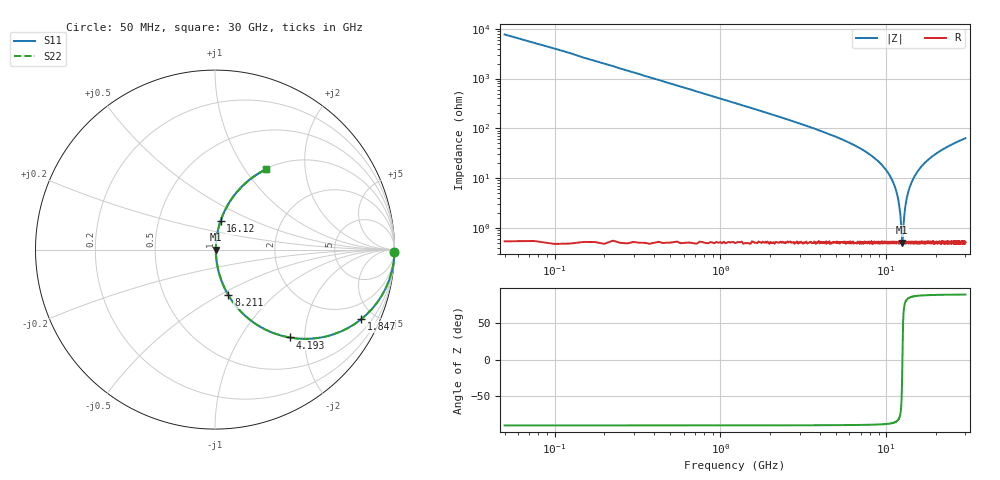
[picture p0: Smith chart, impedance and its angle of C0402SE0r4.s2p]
!	AVX Thin Film Operation 	Date: April 2014
!	Description: Accu-P® Series, Thin Film  SMD RF Capacitor
!	Part Number: 04021J0R4ZBSTR
# MHZ S MA R 50
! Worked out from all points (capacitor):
!   1201 points, 50 MHz to 30 GHz, reference 50 ohm
!   read as one part in series: C = 400 fF near 199.8 MHz
!   lowest |Z| = 504 mohm at 12.5 GHz (marker M1)
!   series resonance near 12.51 GHz, so ESL is about 400 pH
!   S11 on the Smith chart (normalised r, x): 50 MHz: open; 1.847 GHz: 1.01, -4.22; 4.193 GHz: 1.01, -1.68; 8.211 GHz: 1.01, -0.55; 16.12 GHz: 1.01, +0.33; 30 GHz: 1.01, +1.26
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50  1 -0.7  0.013 89.3  0.013 89.3  1 -0.7
299.583  0.997 -4.3  0.075 85.7  0.075 85.7  0.997 -4.3
599.083  0.989 -8.6  0.149 81.4  0.149 81.4  0.989 -8.6
1098.25  0.963 -15.5  0.268 74.4  0.268 74.4  0.963 -15.5
1847  0.903 -25.4  0.428 64.5  0.428 64.5  0.903 -25.4
4193.083  0.642 -49.7  0.763 40.0  0.763 40.0  0.642 -49.7
5041.667  0.549 -56.2  0.831 33.3  0.831 33.3  0.549 -56.2
8211.375  0.265 -73.6  0.96 15.3  0.96 15.3  0.265 -73.6
10058.29  0.138 -80.0  0.985 7.9  0.985 7.9  0.138 -80.0
10981.75  0.082 -81.8  0.992 4.7  0.992 4.7  0.082 -81.8
11680.58  0.044 -80.9  0.994 2.5  0.994 2.5  0.044 -80.9
12054.96  0.024 -76.5  0.995 1.3  0.995 1.3  0.024 -76.5
12504.21  0.005026 -1.2  0.995 0.0  0.995 0.0  0.005026 -1.2
12604.04  0.007038 44.2  0.995 -0.3  0.995 -0.3  0.007038 44.2
12928.5  0.022 75.4  0.995 -1.2  0.995 -1.2  0.022 75.4
13352.79  0.042 80.7  0.994 -2.4  0.994 -2.4  0.042 80.7
14101.54  0.076 81.9  0.992 -4.4  0.992 -4.4  0.076 81.9
15025  0.116 80.9  0.988 -6.7  0.988 -6.7  0.116 80.9
16123.17  0.161 79.0  0.982 -9.2  0.982 -9.2  0.161 79.0
20016.67  0.295 71.9  0.951 -17.2  0.951 -17.2  0.295 71.9
25033.29  0.429 64.0  0.899 -25.4  0.899 -25.4  0.429 64.0
30000  0.531 57.4  0.843 -32.1  0.843 -32.1  0.531 57.4
